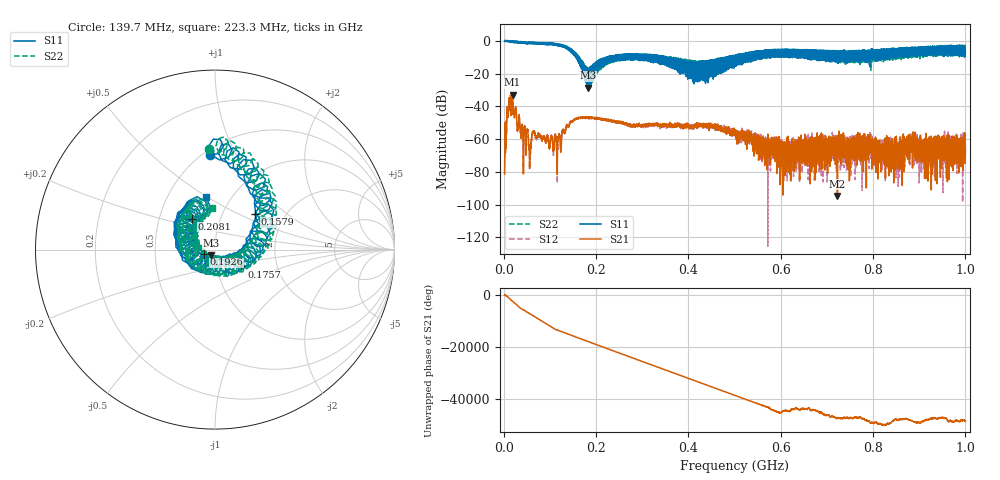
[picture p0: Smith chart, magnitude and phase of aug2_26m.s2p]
!Keysight Technologies N9923A: A.12.45
!Date: Saturday, 02 August 2025 19:14:40
!Timezone: (UTC+08:00) Kuala Lumpur, Singapore
!Model: N9923A
!Serial: MY61181427
!GPS Latitude:
!GPS Longitude:
!GPS TimeStamp: 0001-01-01 00:00:00Z
!GPS Seconds Since Last Read: 0
!CHECKSUM:0647566884
!Correction: S11(ON U)S21(ON U)S12(ON U)S22(ON U)
!S2P File: Measurements:S11,S21,S12,S22:
# Hz S DB R 50
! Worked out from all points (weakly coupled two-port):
!   4001 points, 2 MHz to 1 GHz, reference 50 ohm
!   highest |S21| = -32.97 dB at 19.22 MHz (marker M1); lowest = -94.6 dB at 722.8 MHz (marker M2)
!   lowest |S11| = -28.6 dB at 182.9 MHz (marker M3), VSWR 1.08, Z = 48 - j3.01 ohm
!   |S11| at or under -10 dB: 162.4 MHz to 223.5 MHz (61.03 MHz wide, 31.6 % of centre); 223.7 MHz to 225.1 MHz (1.399 MHz wide, 0.623 % of centre); 352.8 MHz to 483 MHz (130.2 MHz wide, 31.2 % of centre) (the widest 3 of 286)
!   |S22| runs from -29.3 to 0.1 dB; largest |S21 - S12| = 0.0023
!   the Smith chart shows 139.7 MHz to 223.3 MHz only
!   S11 on the Smith chart (normalised r, x): 139.7 MHz: 0.54, +0.79; 157.9 MHz: 1.41, +0.62; 175.7 MHz: 1.32, -0.25; 192.6 MHz: 0.88, -0.05; 208.1 MHz: 0.73, +0.26; 223.3 MHz: 0.77, +0.50
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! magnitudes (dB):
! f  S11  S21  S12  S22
! 2 MHz  -0.1  -81.2  -81.5  -0.1
! 10.23 MHz  -0.2  -41.1  -41.0  0.0
! 19.22 MHz  -0.9  -33.0  -33.0  -1.3
! 57.39 MHz  -1.3  -69.2  -67.1  -1.2
! 65.87 MHz  -1.6  -55.5  -55.2  -1.5
! 119.8 MHz  -3.2  -57.6  -56.5  -3.1
! 139.7 MHz  -5.5  -52.7  -52.5  -5.0
! 157.9 MHz  -10.5  -47.5  -47.4  -9.4
! 168.4 MHz  -15.0  -46.7  -46.9  -15.5
! 175.7 MHz  -15.2  -46.9  -46.9  -14.6
! 182.9 MHz  -28.6  -47.4  -47.0  -23.8
! 192.6 MHz  -23.6  -47.0  -46.8  -19.8
! 208.1 MHz  -13.3  -47.5  -47.2  -16.4
! 223.3 MHz  -10.5  -48.5  -48.6  -12.8
! 334.8 MHz  -11.8  -51.8  -51.0  -9.4
! 417.2 MHz  -24.8  -50.6  -50.5  -15.3
! 501 MHz  -12.1  -57.0  -57.6  -13.5
! 573.4 MHz  -6.4  -69.6  -70.0  -10.4
! 667.4 MHz  -6.4  -58.4  -61.2  -10.5
! 722.8 MHz  -8.2  -94.6  -63.7  -10.1
! 833.8 MHz  -6.4  -71.0  -71.0  -8.0
! 1 GHz  -6.4  -65.8  -63.5  -2.8
